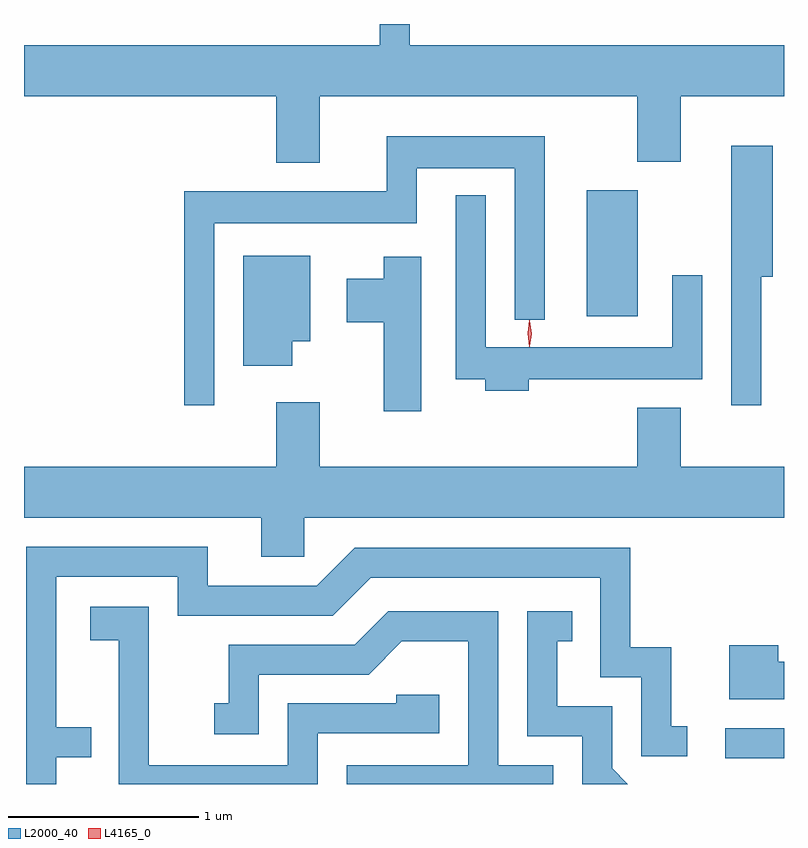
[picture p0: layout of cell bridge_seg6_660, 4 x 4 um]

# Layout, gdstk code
import gdstk
lib = gdstk.Library(unit=1e-6, precision=1e-09)
def R(c, l, rs):  # rectangles x0, y0, x1, y1
    for r in rs: c.add(gdstk.rectangle(r[:2], r[2:], *l))
def P(c, l, *ps):  # polygons
    for p in ps: c.add(gdstk.Polygon(p, *l))
L2000_40 = (2000, 40)
L4165_0 = (4165, 0)

bridge_seg6_660 = lib.new_cell('bridge_seg6_660')
R(bridge_seg6_660, L2000_40, [(312.183,1568.751,312.493,1568.909), (311.456,1571.076,311.724,1571.739)])
P(bridge_seg6_660, L2000_40, [(308.493,1572.236),(309.821,1572.236),(309.821,1571.886),(310.049,1571.886),(310.049,1572.236),(311.721,1572.236),(311.721,1571.891),(311.949,1571.891),(311.949,1572.236),(312.493,1572.236),(312.493,1572.504),(310.524,1572.504),(310.524,1572.615),(310.366,1572.615),(310.366,1572.504),(308.493,1572.504)],
  [(309.494,1571.566),(310.559,1571.566),(310.559,1571.856),(311.076,1571.856),(311.076,1571.058),(311.234,1571.058),(311.234,1572.024),(310.401,1572.024),(310.401,1571.734),(309.336,1571.734),(309.336,1570.608),(309.494,1570.608)],
  [(312.374,1571.286),(312.434,1571.286),(312.434,1571.974),(312.216,1571.974),(312.216,1570.608),(312.374,1570.608)],
  [(311.149,1570.746),(312.064,1570.746),(312.064,1571.293),(311.906,1571.293),(311.906,1570.914),(310.924,1570.914),(310.924,1571.713),(310.766,1571.713),(310.766,1570.746),(310.921,1570.746),(310.921,1570.686),(311.149,1570.686)],
  [(309.904,1570.946),(309.999,1570.946),(309.999,1571.394),(309.646,1571.394),(309.646,1570.816),(309.904,1570.816)],
  [(310.584,1571.389),(310.386,1571.389),(310.386,1571.274),(310.191,1571.274),(310.191,1571.046),(310.386,1571.046),(310.386,1570.576),(310.584,1570.576)],
  [(309.969,1570.016),(312.493,1570.016),(312.493,1570.284),(311.949,1570.284),(311.949,1570.594),(311.721,1570.594),(311.721,1570.284),(310.049,1570.284),(310.049,1570.624),(309.821,1570.624),(309.821,1570.284),(308.493,1570.284),(308.493,1570.016),(309.741,1570.016),(309.741,1569.811),(309.969,1569.811)],
  [(308.664,1568.756),(308.848,1568.756),(308.848,1568.914),(308.664,1568.914),(308.664,1569.706),(309.301,1569.706),(309.301,1569.501),(310.117,1569.501),(310.317,1569.701),(311.526,1569.701),(311.526,1569.176),(311.741,1569.176),(311.741,1568.761),(311.983,1568.761),(311.983,1568.919),(311.899,1568.919),(311.899,1569.334),(311.684,1569.334),(311.684,1569.859),(310.234,1569.859),(310.034,1569.659),(309.459,1569.659),(309.459,1569.864),(308.506,1569.864),(308.506,1568.615),(308.664,1568.615)],
  [(310.039,1568.881),(310.679,1568.881),(310.679,1569.084),(310.451,1569.084),(310.451,1569.039),(309.881,1569.039),(309.881,1568.714),(309.149,1568.714),(309.149,1569.549),(308.841,1569.549),(308.841,1569.371),(308.991,1569.371),(308.991,1568.615),(310.039,1568.615)],
  [(311.589,1568.697),(311.589,1569.024),(311.299,1569.024),(311.299,1569.366),(311.378,1569.366),(311.378,1569.524),(311.141,1569.524),(311.141,1568.866),(311.431,1568.866),(311.431,1568.615),(311.671,1568.615)],
  [(311.279,1568.714),(310.989,1568.714),(310.989,1569.524),(310.409,1569.524),(310.234,1569.349),(309.571,1569.349),(309.571,1569.039),(309.493,1569.039),(309.493,1568.876),(309.729,1568.876),(309.729,1569.191),(310.307,1569.191),(310.482,1569.366),(310.831,1569.366),(310.831,1568.714),(310.191,1568.714),(310.191,1568.615),(311.279,1568.615)],
  [(312.493,1569.259),(312.464,1569.259),(312.464,1569.344),(312.206,1569.344),(312.206,1569.061),(312.493,1569.061)])
P(bridge_seg6_660, L4165_0, [(311.153,1570.917),(311.144,1570.987),(311.153,1571.056),(311.154,1571.056),(311.154,1571.056),(311.163,1570.987),(311.154,1570.917),(311.154,1570.917)],
  [(311.156,1570.919),(311.155,1570.92),(311.146,1570.986),(311.155,1571.052),(311.156,1571.053),(311.156,1571.052),(311.166,1570.986),(311.156,1570.92)])

lib.write_gds('bridge_seg6_660.gds')
